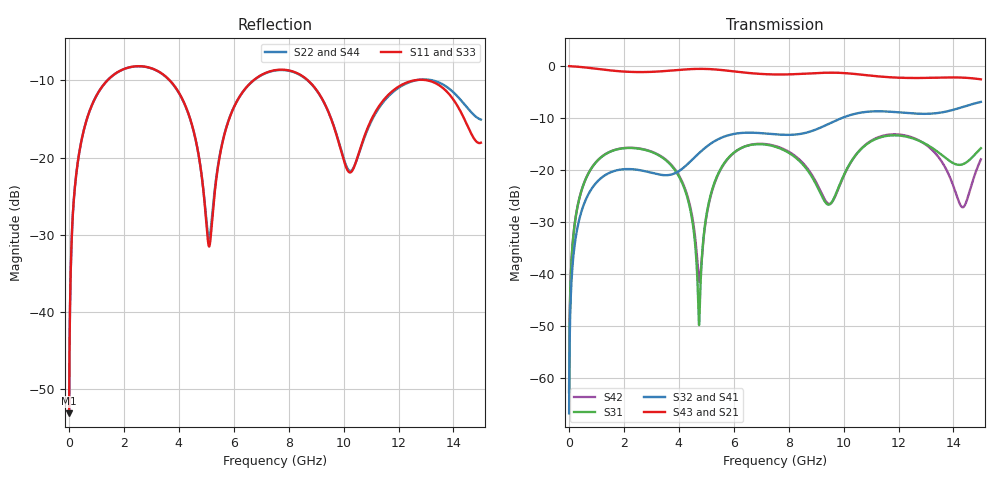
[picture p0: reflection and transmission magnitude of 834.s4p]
! Created with skrf 1.8.0 (http://scikit-rf.org).
# GHz S RI R 50.0
!freq ReS11 ImS11 ReS12 ImS12 ReS13 ImS13
! ReS14 ImS14
! ReS21 ImS21 ReS22 ImS22 ReS23 ImS23
! ReS24 ImS24
! ReS31 ImS31 ReS32 ImS32 ReS33 ImS33
! ReS34 ImS34
! ReS41 ImS41 ReS42 ImS42 ReS43 ImS43
! ReS44 ImS44
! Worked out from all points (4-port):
!   2499 points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, 5 MHz to 15 GHz, reference 50 ohm
!   strongest paths, dB at 5 MHz, 3.476 GHz, 7.19 GHz, 11.1 GHz, 15 GHz:
!     S43: 0.0, -1.0, -1.6, -1.9, -2.5
!     S21: 0.0, -1.0, -1.6, -1.9, -2.5
!     S32: -66.7, -21.0, -13.0, -8.7, -6.9
!     S41: -66.7, -21.0, -13.0, -8.7, -6.9
!     S31: -62.7, -17.9, -15.1, -14.2, -15.8
!     S42: -62.7, -17.8, -15.0, -14.1, -17.9
!   lowest |S11| = -53.1 dB at 5 MHz (marker M1), VSWR 1.00, Z = 50.2 + j0.134 ohm
!   |S11| at or under -10 dB: 3.667 GHz to 6.72 GHz (3.054 GHz wide, 58.8 % of centre); 8.699 GHz to 12.59 GHz (3.887 GHz wide, 36.5 % of centre); 13.03 GHz to end of sweep (the widest 3 of 4)
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0.005  0.00176 0.00133  0.9982 -0.00342  8.98e-05 0.00073  -8.7e-05 -0.000453
       0.9982 -0.00342  0.00176 0.00133  -8.7e-05 -0.000453  8.98e-05 0.00073
       8.98e-05 0.00073  -8.7e-05 -0.000453  0.00176 0.00133  0.9982 -0.00342
       -8.7e-05 -0.000453  8.98e-05 0.00073  0.9982 -0.00342  0.00176 0.00133
0.3126303  0.0271 0.087  0.9629 -0.2122  0.013 0.043  -0.0108 -0.0262
           0.9629 -0.2122  0.0271 0.087  -0.0108 -0.0262  0.0131 0.043
           0.013 0.043  -0.0108 -0.0262  0.0271 0.087  0.9629 -0.2122
           -0.0108 -0.0262  0.0131 0.043  0.9629 -0.2122  0.0271 0.087
1.469362  0.2742 0.1745  0.5392 -0.7343  0.1345 0.0643  -0.094 -0.00441
          0.5392 -0.7343  0.2737 0.1749  -0.0941 -0.00426  0.1359 0.0625
          0.1345 0.0643  -0.0941 -0.00426  0.274 0.1746  0.5392 -0.7343
          -0.094 -0.00441  0.1359 0.0625  0.5392 -0.7343  0.2737 0.1748
4.739475  0.0451 -0.0884  -0.8957 -0.2863  -0.00324 2.94e-05  -0.0413 0.14
          -0.8957 -0.2863  0.0481 -0.0865  -0.039 0.1407  -0.00833 -0.00218
          -0.00324 2.94e-05  -0.039 0.1407  0.0461 -0.0869  -0.8958 -0.2862
          -0.0413 0.14  -0.00833 -0.00218  -0.8958 -0.2862  0.0463 -0.0859
5.92747  0.1277 0.1496  -0.8033 0.393  0.1059 0.0939  0.1238 0.1825
         -0.8033 0.393  0.1302 0.148  0.1268 0.1807  0.1051 0.0935
         0.1059 0.0939  0.1268 0.1807  0.1292 0.1491  -0.8033 0.3927
         0.1238 0.1825  0.1051 0.0935  -0.8033 0.3927  0.1292 0.1499
10.27928  0.0807 0.000224  0.84 0.1029  -0.00392 0.1213  0.038 -0.3385
          0.84 0.1029  0.0821 -0.00179  0.0283 -0.3393  -0.00114 0.1207
          -0.00392 0.1213  0.0283 -0.3393  0.081 0.0019  0.84 0.1044
          0.038 -0.3385  -0.00114 0.1207  0.84 0.1044  0.081 0.00274
15  0.1245 0.00562  -0.6752 -0.3181  -0.1246 0.1045  -0.2026 0.4051
    -0.6752 -0.3181  0.17 -0.0456  -0.1863 0.4128  -0.021 0.1254
    -0.1246 0.1045  -0.1863 0.4128  0.128 9.9e-05  -0.6717 -0.3255
    -0.2026 0.4051  -0.021 0.1254  -0.6717 -0.3255  0.1723 -0.044
